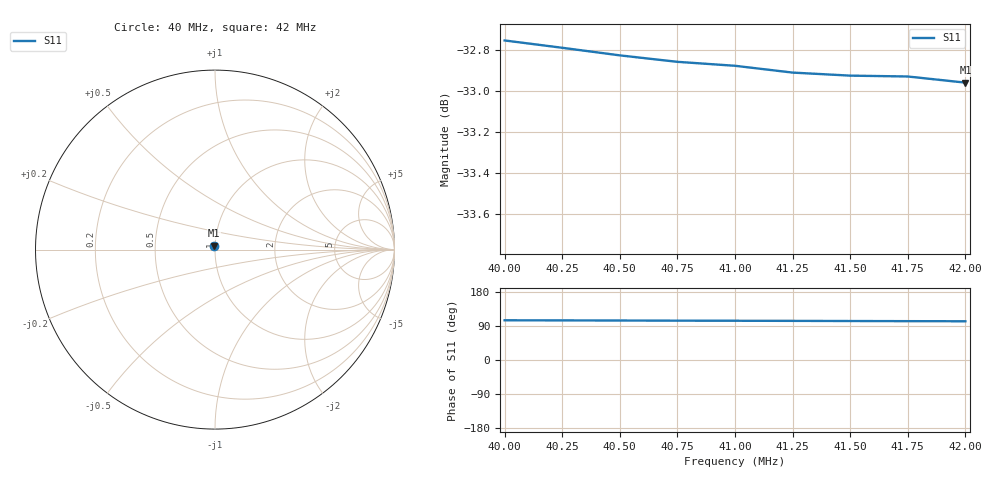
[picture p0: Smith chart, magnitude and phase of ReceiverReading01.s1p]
# Hz S RI R 50
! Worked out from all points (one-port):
!   9 points, 40 MHz to 42 MHz, reference 50 ohm
!   lowest |S11| = -33.0 dB at 42 MHz (marker M1), VSWR 1.05, Z = 49.5 + j2.18 ohm
!   |S11| at or under -10 dB: start of sweep to end of sweep
4e7  -0.00588 0.0223
4.025e7  -0.00575 0.0222
4.05e7  -0.0056 0.0221
4.075e7  -0.00544 0.0221
4.1e7  -0.00532 0.0221
4.125e7  -0.00518 0.022
4.15e7  -0.00502 0.022
4.175e7  -0.00488 0.022
4.2e7  -0.00476 0.022
